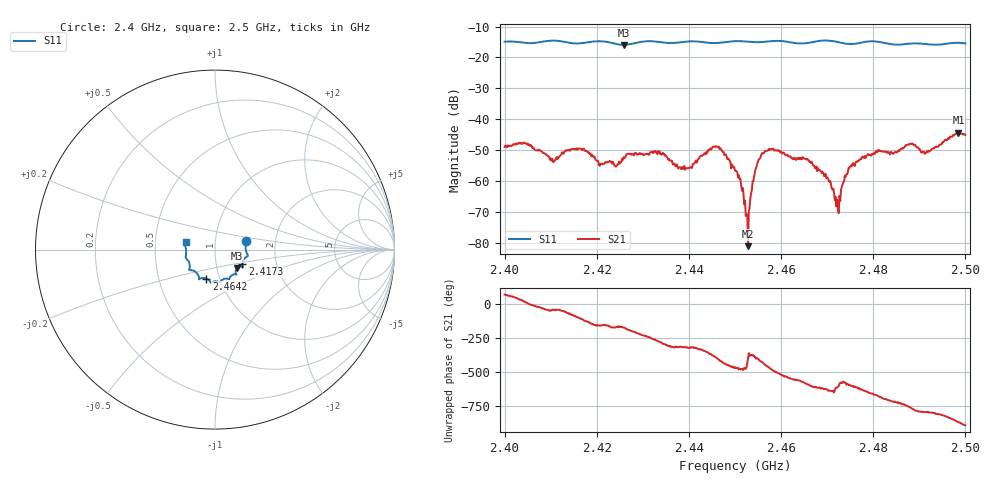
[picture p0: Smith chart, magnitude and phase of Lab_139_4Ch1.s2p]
# Hz S RI R 50
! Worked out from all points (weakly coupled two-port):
!   601 points, 2.4 GHz to 2.5 GHz, reference 50 ohm
!   highest |S21| = -44.36 dB at 2.4985 GHz (marker M1); lowest = -81.2 dB at 2.4528 GHz (marker M2)
!   lowest |S11| = -15.9 dB at 2.4258 GHz (marker M3), VSWR 1.38, Z = 62.4 - j13.2 ohm
!   |S11| at or under -10 dB: start of sweep to end of sweep
!   S12 and S22 are empty: the file has one direction only
!   S11 on the Smith chart (normalised r, x): 2.4 GHz: 1.41, +0.14; 2.4173 GHz: 1.34, -0.23; 2.4642 GHz: 0.86, -0.29; 2.5 GHz: 0.72, +0.06
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2.4e9  0.1732 0.0494  0.00148 0.00322  0 0  0 0
2.4045e9  0.171 0.0207  0.00401 0.000826  0 0  0 0
2.4105e9  0.1844 -0.0339  0.00144 -0.00142  0 0  0 0
2.416667e9  0.153 -0.0741  -0.00122 -0.00305  0 0  0 0
2.417333e9  0.1522 -0.0816  -0.00179 -0.00259  0 0  0 0
2.421e9  0.1548 -0.097  -0.00176 -0.000671  0 0  0 0
2.425833e9  0.1222 -0.1031  -0.00241 -0.000188  0 0  0 0
2.433333e9  0.1137 -0.1373  0.000362 0.00303  0 0  0 0
2.439667e9  0.0795 -0.1627  0.00122 0.00105  0 0  0 0
2.446e9  0.0475 -0.1646  0.00293 -0.00205  0 0  0 0
2.45e9  0.0287 -0.1814  -0.000345 -0.00142  0 0  0 0
2.452833e9  0.0183 -0.1788  7.07e-05 -5.13e-05  0 0  0 0
2.454333e9  0.00771 -0.1767  0.00126 -0.000618  0 0  0 0
2.456167e9  -0.00784 -0.1783  0.000685 -0.0027  0 0  0 0
2.464167e9  -0.0481 -0.1614  -0.00206 0.000893  0 0  0 0
2.466667e9  -0.0764 -0.159  -0.000928 0.00181  0 0  0 0
2.472333e9  -0.0892 -0.1537  -0.000137 0.000333  0 0  0 0
2.475167e9  -0.1084 -0.1245  -0.000889 0.00154  0 0  0 0
2.483333e9  -0.1405 -0.0896  0.0028 0.000844  0 0  0 0
2.491667e9  -0.1614 -0.028  0.000955 -0.00286  0 0  0 0
2.4985e9  -0.1691 0.035  -0.00499 -0.00343  0 0  0 0
2.5e9  -0.1635 0.0425  -0.00539 -0.00113  0 0  0 0
